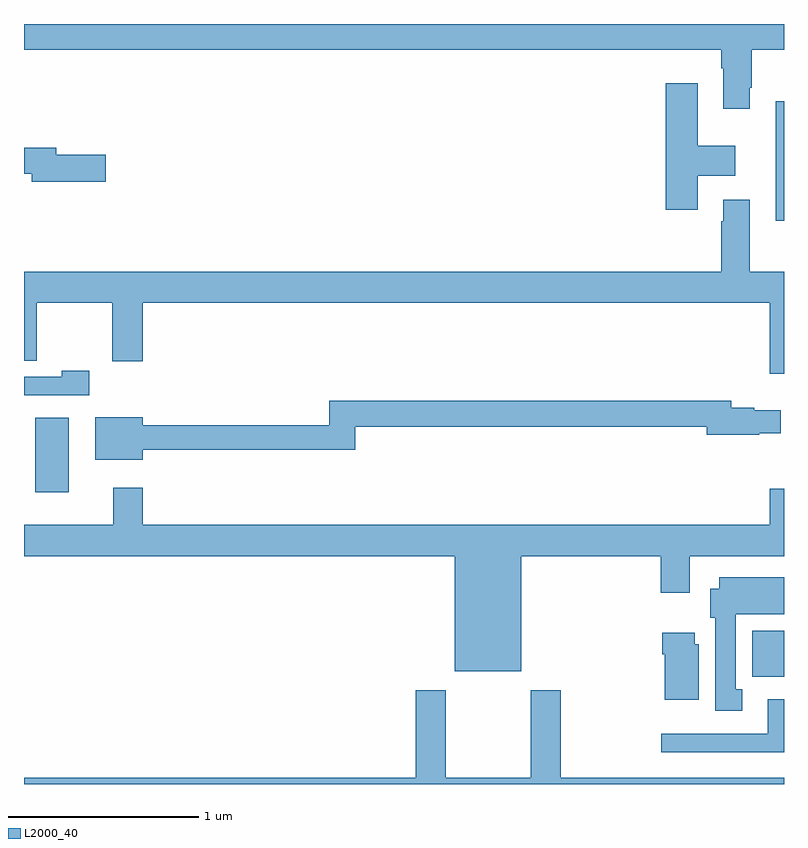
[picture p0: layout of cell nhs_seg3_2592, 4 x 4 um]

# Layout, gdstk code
import gdstk
lib = gdstk.Library(unit=1e-6, precision=1e-09)
def R(c, l, rs):  # rectangles x0, y0, x1, y1
    for r in rs: c.add(gdstk.rectangle(r[:2], r[2:], *l))
def P(c, l, *ps):  # polygons
    for p in ps: c.add(gdstk.Polygon(p, *l))
L2000_40 = (2000, 40)

nhs_seg3_2592 = lib.new_cell('nhs_seg3_2592')
R(nhs_seg3_2592, L2000_40, [(248.834,682.964,249,683.206), (245.06,683.936,245.236,684.328), (248.957,685.365,249,685.993)])
P(nhs_seg3_2592, L2000_40, [(248.821,686.065),(248.829,686.065),(248.829,686.264),(249,686.264),(249,686.4),(245,686.4),(245,686.264),(248.669,686.264),(248.669,686.168),(248.681,686.168),(248.681,685.953),(248.821,685.953)],
  [(248.545,685.601),(248.743,685.601),(248.743,685.759),(248.545,685.759),(248.545,686.089),(248.378,686.089),(248.378,685.422),(248.545,685.422)],
  [(245.431,685.712),(245.17,685.712),(245.17,685.748),(245,685.748),(245,685.612),(245.042,685.612),(245.042,685.57),(245.431,685.57)],
  [(249,685.096),(248.821,685.096),(248.821,685.474),(248.681,685.474),(248.681,685.361),(248.669,685.361),(248.669,685.096),(245,685.096),(245,684.628),(245.066,684.628),(245.066,684.932),(245.464,684.932),(245.464,684.624),(245.624,684.624),(245.624,684.932),(248.924,684.932),(248.924,684.558),(249,684.558)],
  [(245.344,684.576),(245.199,684.576),(245.199,684.543),(245,684.543),(245,684.447),(245.344,684.447)],
  [(245.626,684.159),(246.743,684.159),(246.743,684.28),(248.594,684.28),(248.594,684.238),(248.87,684.238),(248.87,684.245),(248.983,684.245),(248.983,684.367),(248.844,684.367),(248.844,684.38),(248.722,684.38),(248.722,684.416),(246.607,684.416),(246.607,684.287),(245.626,684.287),(245.626,684.331),(245.375,684.331),(245.375,684.107),(245.626,684.107)],
  [(247.618,683.6),(248.351,683.6),(248.351,683.406),(248.503,683.406),(248.503,683.6),(249,683.6),(249,683.953),(248.924,683.953),(248.924,683.764),(245.624,683.764),(245.624,683.959),(245.471,683.959),(245.471,683.764),(245,683.764),(245,683.6),(247.268,683.6),(247.268,682.994),(247.618,682.994)],
  [(248.779,682.898),(248.746,682.898),(248.746,683.294),(249,683.294),(249,683.488),(248.66,683.488),(248.66,683.428),(248.612,683.428),(248.612,683.274),(248.639,683.274),(248.639,682.785),(248.779,682.785)],
  [(248.551,683.136),(248.53,683.136),(248.53,683.197),(248.36,683.197),(248.36,683.084),(248.372,683.084),(248.372,682.844),(248.551,682.844)],
  [(249,682.432),(247.826,682.432),(247.826,682.894),(247.666,682.894),(247.666,682.432),(247.221,682.432),(247.221,682.894),(247.061,682.894),(247.061,682.432),(245,682.432),(245,682.4),(249,682.4)],
  [(249,682.846),(248.915,682.846),(248.915,682.665),(248.355,682.665),(248.355,682.568),(249,682.568)])

lib.write_gds('nhs_seg3_2592.gds')
